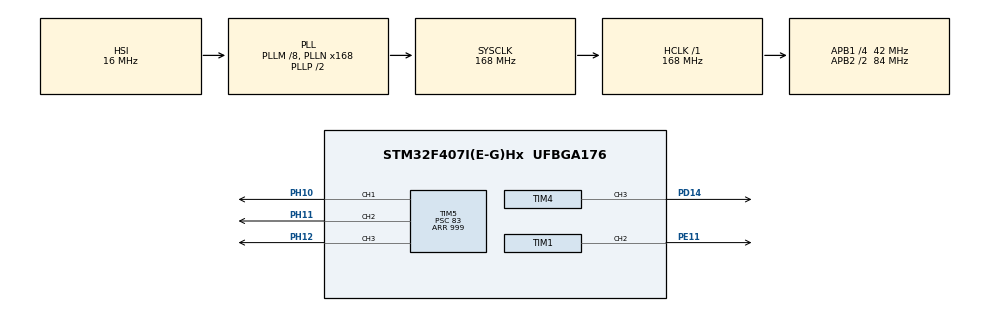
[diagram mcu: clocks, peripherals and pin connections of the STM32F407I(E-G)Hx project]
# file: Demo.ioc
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FREERTOS.Tasks01=defaultTask,24,128,StartDefaultTask,Default,NULL,Dynamic,NULL,NULL
Mcu.Family=STM32F4
Mcu.Name=STM32F407I(E-G)Hx
Mcu.Package=UFBGA176
NVIC.PriorityGroup=NVIC_PRIORITYGROUP_4
NVIC.TIM6_DAC_IRQn=true\:15\:0\:false\:false\:true\:false\:false\:true\:true
NVIC.TimeBase=TIM6_DAC_IRQn
NVIC.TimeBaseIP=TIM6
PA13.Mode=Serial_Wire
PA13.Signal=SYS_JTMS-SWDIO
PA14.Mode=Serial_Wire
PA14.Signal=SYS_JTCK-SWCLK
PD14.Signal=S_TIM4_CH3
PE11.Signal=S_TIM1_CH2
PH0-OSC_IN.Mode=HSE-External-Oscillator
PH0-OSC_IN.Signal=RCC_OSC_IN
PH1-OSC_OUT.Mode=HSE-External-Oscillator
PH1-OSC_OUT.Signal=RCC_OSC_OUT
PH10.Signal=S_TIM5_CH1
PH11.Signal=S_TIM5_CH2
PH12.Signal=S_TIM5_CH3
ProjectManager.HeapSize=0x200
ProjectManager.StackSize=0x400
ProjectManager.TargetToolchain=CMake
RCC.48MHZClocksFreq_Value=84000000
RCC.AHBFreq_Value=168000000
RCC.APB1CLKDivider=RCC_HCLK_DIV4
RCC.APB1Freq_Value=42000000
RCC.APB1TimFreq_Value=84000000
RCC.APB2CLKDivider=RCC_HCLK_DIV2
RCC.APB2Freq_Value=84000000
RCC.APB2TimFreq_Value=168000000
RCC.CortexFreq_Value=168000000
RCC.HCLKFreq_Value=168000000
RCC.HSE_VALUE=12000000
RCC.HSI_VALUE=16000000
RCC.LSE_VALUE=32768
RCC.PLLM=8
RCC.PLLN=168
RCC.SYSCLKFreq_VALUE=168000000
RCC.SYSCLKSource=RCC_SYSCLKSOURCE_PLLCLK
RCC.VCOOutputFreq_Value=336000000
SH.S_TIM1_CH2.0=TIM1_CH2,PWM Generation2 CH2
SH.S_TIM4_CH3.0=TIM4_CH3,PWM Generation3 CH3
SH.S_TIM5_CH1.0=TIM5_CH1,PWM Generation1 CH1
SH.S_TIM5_CH2.0=TIM5_CH2,PWM Generation2 CH2
SH.S_TIM5_CH3.0=TIM5_CH3,PWM Generation3 CH3
TIM1.Channel-PWM\ Generation2\ CH2=TIM_CHANNEL_2
TIM1.Period=19999
TIM1.Prescaler=167
TIM1.Pulse-PWM\ Generation2\ CH2=1500
TIM4.Channel-PWM\ Generation3\ CH3=TIM_CHANNEL_3
TIM4.Period=249
TIM4.Prescaler=83
TIM4.Pulse-PWM\ Generation3\ CH3=125
TIM5.Channel-PWM\ Generation1\ CH1=TIM_CHANNEL_1
TIM5.Channel-PWM\ Generation2\ CH2=TIM_CHANNEL_2
TIM5.Channel-PWM\ Generation3\ CH3=TIM_CHANNEL_3
TIM5.Period=999
TIM5.Prescaler=83
VP_FREERTOS_VS_CMSIS_V2.Mode=CMSIS_V2
VP_SYS_VS_tim6.Mode=TIM6
VP_TIM1_VS_ClockSourceINT.Mode=Internal
VP_TIM4_VS_ClockSourceINT.Mode=Internal
VP_TIM5_VS_ClockSourceINT.Mode=Internal
board=custom

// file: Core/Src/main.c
/* USER CODE BEGIN Header */
/**
  ******************************************************************************
  * @file           : main.c
  * @brief          : Main program body
  ******************************************************************************
  * @attention
  *
  * Copyright (c) 2026 STMicroelectronics.
  * All rights reserved.
  *
  * This software is licensed under terms that can be found in the LICENSE file
  * in the root directory of this software component.
  * If no LICENSE file comes with this software, it is provided AS-IS.
  *
  ******************************************************************************
  */
/* USER CODE END Header */
#include "main.h"
#include "cmsis_os.h"
#include "tim.h"
#include "gpio.h"

/* USER CODE BEGIN Includes */
#include "buzzer.h"
/* USER CODE END Includes */

void SystemClock_Config(void);
void MX_FREERTOS_Init(void);

int main(void)
{

  /* MCU Configuration--------------------------------------------------------*/

  /* Reset of all peripherals, Initializes the Flash interface and the Systick. */
  HAL_Init();

  /* Configure the system clock */
  SystemClock_Config();

  /* Initialize all configured peripherals */
  MX_GPIO_Init();
  MX_TIM4_Init();
  MX_TIM5_Init();
  MX_TIM1_Init();
  /* USER CODE BEGIN 2 */
Buzzer_PlayStartup();
  /* USER CODE END 2 */

  /* Init scheduler */
  osKernelInitialize();  /* Call init function for freertos objects (in cmsis_os2.c) */
  MX_FREERTOS_Init();

  /* Start scheduler */
  osKernelStart();

  /* We should never get here as control is now taken by the scheduler */

  /* Infinite loop */
  while (1)
  {

  }
}

void SystemClock_Config(void)
{
  RCC_OscInitTypeDef RCC_OscInitStruct = {0};
  RCC_ClkInitTypeDef RCC_ClkInitStruct = {0};

  /** Configure the main internal regulator output voltage
  */
  __HAL_RCC_PWR_CLK_ENABLE();
  __HAL_PWR_VOLTAGESCALING_CONFIG(PWR_REGULATOR_VOLTAGE_SCALE1);

  /** Initializes the RCC Oscillators according to the specified parameters
  * in the RCC_OscInitTypeDef structure.
  */
  RCC_OscInitStruct.OscillatorType = RCC_OSCILLATORTYPE_HSI;
  RCC_OscInitStruct.HSIState = RCC_HSI_ON;
  RCC_OscInitStruct.HSICalibrationValue = RCC_HSICALIBRATION_DEFAULT;
  RCC_OscInitStruct.PLL.PLLState = RCC_PLL_ON;
  RCC_OscInitStruct.PLL.PLLSource = RCC_PLLSOURCE_HSI;
  RCC_OscInitStruct.PLL.PLLM = 8;
  RCC_OscInitStruct.PLL.PLLN = 168;
  RCC_OscInitStruct.PLL.PLLP = RCC_PLLP_DIV2;
  RCC_OscInitStruct.PLL.PLLQ = 4;
  if (HAL_RCC_OscConfig(&RCC_OscInitStruct) != HAL_OK)
  {
    Error_Handler();
  }

  /** Initializes the CPU, AHB and APB buses clocks
  */
  RCC_ClkInitStruct.ClockType = RCC_CLOCKTYPE_HCLK|RCC_CLOCKTYPE_SYSCLK
                              |RCC_CLOCKTYPE_PCLK1|RCC_CLOCKTYPE_PCLK2;
  RCC_ClkInitStruct.SYSCLKSource = RCC_SYSCLKSOURCE_PLLCLK;
  RCC_ClkInitStruct.AHBCLKDivider = RCC_SYSCLK_DIV1;
  RCC_ClkInitStruct.APB1CLKDivider = RCC_HCLK_DIV4;
  RCC_ClkInitStruct.APB2CLKDivider = RCC_HCLK_DIV2;

  if (HAL_RCC_ClockConfig(&RCC_ClkInitStruct, FLASH_LATENCY_5) != HAL_OK)
  {
    Error_Handler();
  }
}

void HAL_TIM_PeriodElapsedCallback(TIM_HandleTypeDef *htim)
{
  if (htim->Instance == TIM6)
  {
    HAL_IncTick();
  }
}

void Error_Handler(void)
{
  __disable_irq();
  while (1)
  {
  }
}

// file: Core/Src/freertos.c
/* USER CODE BEGIN Header */
/**
  ******************************************************************************
  * File Name          : freertos.c
  * Description        : Code for freertos applications
  ******************************************************************************
  * @attention
  *
  * Copyright (c) 2026 STMicroelectronics.
  * All rights reserved.
  *
  * This software is licensed under terms that can be found in the LICENSE file
  * in the root directory of this software component.
  * If no LICENSE file comes with this software, it is provided AS-IS.
  *
  ******************************************************************************
  */
/* USER CODE END Header */

#include "FreeRTOS.h"
#include "task.h"
#include "main.h"
#include "cmsis_os.h"

/* USER CODE BEGIN Includes */
#include "led.h"
#include "servo.h"

/* USER CODE END Includes */

/* USER CODE BEGIN Variables */
static osThreadId_t ledTaskHandle;

static const osThreadAttr_t ledTask_attributes =
{
    .name = "ledTask",
    .stack_size = 256 * 4,
    .priority = (osPriority_t) osPriorityNormal,
};
static osThreadId_t servoTaskHandle;

static const osThreadAttr_t servoTask_attributes =
{
    .name = "servoTask",
    .stack_size = 256 * 4,
    .priority = (osPriority_t) osPriorityNormal,
};
/* USER CODE END Variables */
/* Definitions for defaultTask */
osThreadId_t defaultTaskHandle;
const osThreadAttr_t defaultTask_attributes = {
  .name = "defaultTask",
  .stack_size = 128 * 4,
  .priority = (osPriority_t) osPriorityNormal,
};

/* USER CODE BEGIN FunctionPrototypes */
static void LedTask(void *argument);
static void ServoTask(void *argument);
/* USER CODE END FunctionPrototypes */

void StartDefaultTask(void *argument);

void MX_FREERTOS_Init(void); /* (MISRA C 2004 rule 8.1) */

void MX_FREERTOS_Init(void) {

  /* Create the thread(s) */
  /* creation of defaultTask */
  defaultTaskHandle = osThreadNew(StartDefaultTask, NULL, &defaultTask_attributes);

  /* USER CODE BEGIN RTOS_THREADS */
  /* add threads, ... */
  ledTaskHandle = osThreadNew(LedTask, NULL, &ledTask_attributes);

if (ledTaskHandle == NULL)
{
    Error_Handler();
}
servoTaskHandle = osThreadNew(ServoTask, NULL,
                              &servoTask_attributes);

if (servoTaskHandle == NULL)
{
    Error_Handler();
}
  /* USER CODE END RTOS_THREADS */

}

void StartDefaultTask(void *argument)
{
  for(;;)
  {
    osDelay(1);
  }
}

/* USER CODE BEGIN Application */
static void LedTask(void *argument)
{
 const LedColor_t colors[] = {LED_BLUE, LED_GREEN, LED_RED};
    (void)argument;

    Led_Start();

    for (;;)
    {
        for (uint32_t i = 0U; i < 3U; i++)
        {
            for (uint16_t level = 0U; level <= 1000U; level += 50U)
            {
                Led_Set(colors[i], level);
                osDelay(10);
            }

            for (int32_t level = 950; level >= 0; level -= 50)
            {
                Led_Set(colors[i], (uint16_t)level);
                osDelay(10);
            }
        }
    }
}
static void ServoTask(void *argument)
{
    const uint8_t angles[] = {0U, 45U, 90U, 135U, 180U};
    (void)argument;

    Servo_Start();

    for (;;)
    {
        /* 从0°逐步转到180° */
        for (uint32_t i = 0U; i < 5U; i++)
        {
            Servo_SetAngle(angles[i]);
            osDelay(1000U);
        }

        /* 再从135°逐步返回0°，方便循环演示 */
        for (int32_t i = 3; i >= 0; i--)
        {
            Servo_SetAngle(angles[i]);
            osDelay(1000U);
        }
    }
}
/* USER CODE END Application */
